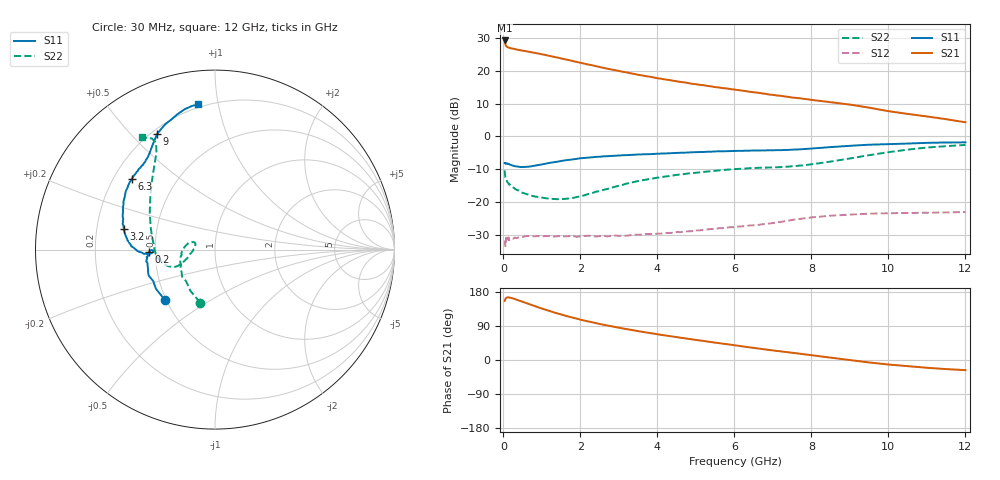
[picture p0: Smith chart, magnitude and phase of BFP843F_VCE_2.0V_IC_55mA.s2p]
! Infineon Technologies  Discrete & RF Semiconductors
! BFP843F
! VCE =  2.0 V,  IC =  55 mA
! Common Emitter S-Parameters:  Aug 2013
# GHz  S  MA  R  50
!  f  S11  S21  S12  S22
! GHz  MAG  ANG  MAG  ANG  MAG  ANG  MAG  ANG
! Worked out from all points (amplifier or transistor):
!   103 points, 30 MHz to 12 GHz, reference 50 ohm
!   highest |S21| = 29.2 dB at 30 MHz (marker M1)
!   |S21| within 3 dB of that: start of sweep to 452.3 MHz
!   unconditionally stable (mu >= 1): 46.91 MHz to 57.81 MHz; 75.84 MHz to end of sweep
!   at 400 MHz: K = 1.06, MAG = 26.9 dB, |S12| = -30.6 dB
!   at 3.7 GHz: K = 1.37, MAG = 20.3 dB, |S12| = -29.6 dB
!   at 12 GHz: K = 1.11, MAG = 11.6 dB, |S12| = -23.0 dB
!   S11 on the Smith chart (normalised r, x): 30 MHz: 0.49, -0.32; 200 MHz: 0.46, -0.02; 3.2 GHz: 0.32, +0.10; 6.3 GHz: 0.27, +0.34; 9 GHz: 0.22, +0.60; 12 GHz: 0.18, +0.87
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0.03  0.3953 -135.3  28.71 155.9  0.0239 22.7  0.3061 -105.6
0.04  0.395 -146.4  26.3 157.9  0.0256 19.8  0.2682 -120.5
0.05  0.3862 -153.0  24.9 161.2  0.0216 19.3  0.2386 -132.5
0.08  0.3873 -164.8  23.31 164.3  0.0273 15.6  0.2218 -151.2
0.13  0.3812 -172.4  22.45 165.2  0.0295 8.0  0.1947 -168.8
0.2  0.3684 -177.7  21.78 163.9  0.0282 8.9  0.1778 179.2
0.7  0.3509 -177.2  19.14 146.3  0.0307 7.5  0.1273 160.9
0.9  0.3673 -176.6  18.22 139.2  0.0307 6.9  0.1206 160.3
1.1  0.3866 -176.6  17.23 132.5  0.0308 7.1  0.1154 162.1
1.4  0.4142 -178.0  15.79 123.0  0.0306 8.6  0.1119 167.7
1.6  0.4342 -179.2  14.87 117.2  0.0305 8.5  0.113 173.0
2.1  0.4715 176.5  12.78 104.1  0.0309 11.4  0.1279 -174.9
2.6  0.4991 172.2  11 93.0  0.0313 14.9  0.1547 -165.0
3.2  0.5205 167.0  9.394 81.5  0.0312 17.9  0.1925 -158.9
4.1  0.5506 159.1  7.522 66.4  0.0336 24.4  0.2414 -156.8
5  0.5777 151.5  6.22 53.0  0.0374 29.0  0.2815 -161.6
6.1  0.6055 141.8  5.061 37.5  0.0428 32.0  0.3218 -172.1
6.3  0.6085 139.8  4.875 34.7  0.0437 32.6  0.3265 -174.4
8.5  0.6902 119.6  3.314 6.2  0.0627 29.9  0.4157 151.0
9  0.7213 116.5  3.049 -0.1  0.0651 27.0  0.4639 141.0
10.5  0.781 105.8  2.202 -16.2  0.0689 20.2  0.6311 121.1
12  0.8141 96.6  1.643 -26.7  0.0712 19.1  0.7443 122.9
